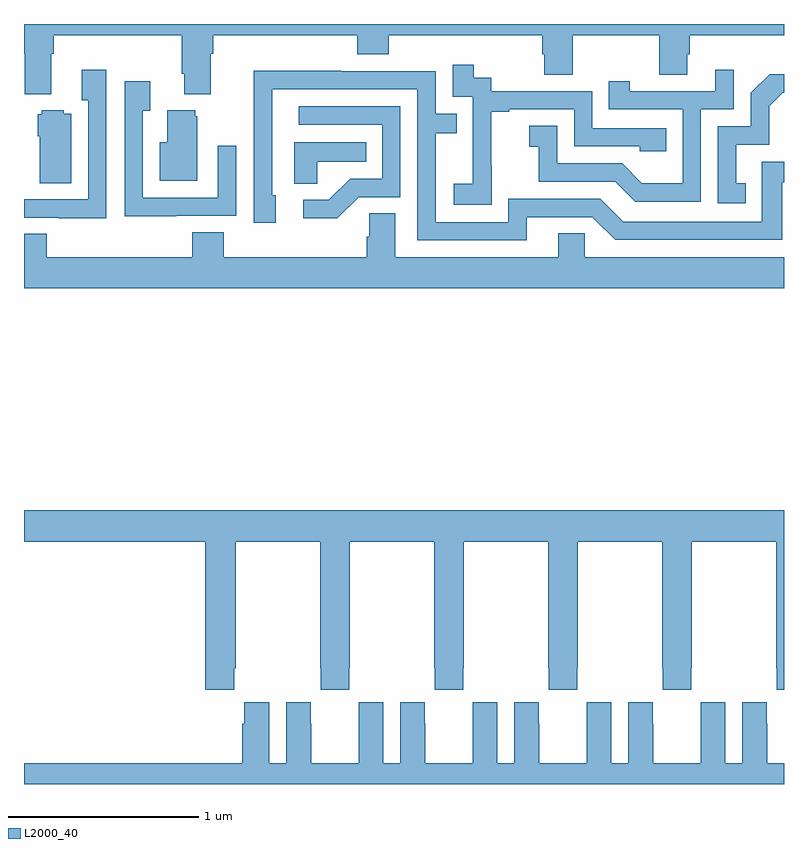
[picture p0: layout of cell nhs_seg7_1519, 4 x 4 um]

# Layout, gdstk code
import gdstk
lib = gdstk.Library(unit=1e-6, precision=1e-09)
def P(c, l, *ps):  # polygons
    for p in ps: c.add(gdstk.Polygon(p, *l))
L2000_40 = (2000, 40)

nhs_seg7_1519 = lib.new_cell('nhs_seg7_1519')
P(nhs_seg7_1519, L2000_40, [(215.143,1009.844),(215.156,1009.844),(215.156,1009.94),(215.831,1009.94),(215.831,1009.738),(215.843,1009.738),(215.843,1009.631),(215.983,1009.631),(215.983,1009.844),(215.996,1009.844),(215.996,1009.94),(216.755,1009.94),(216.755,1009.841),(216.92,1009.841),(216.92,1009.94),(217.727,1009.94),(217.727,1009.842),(217.739,1009.842),(217.739,1009.732),(217.887,1009.732),(217.887,1009.94),(218.344,1009.94),(218.344,1009.732),(218.491,1009.732),(218.491,1009.842),(218.504,1009.842),(218.504,1009.94),(219,1009.94),(219,1010),(215,1010),(215,1009.844),(215.003,1009.844),(215.003,1009.631),(215.143,1009.631)],
  [(217.461,1009.255),(217.46,1009.255),(217.46,1009.539),(217.555,1009.539),(217.555,1009.551),(217.896,1009.551),(217.896,1009.356),(218.241,1009.356),(218.241,1009.329),(218.381,1009.329),(218.381,1009.452),(217.992,1009.452),(217.992,1009.647),(217.458,1009.647),(217.458,1009.716),(217.366,1009.716),(217.366,1009.786),(217.257,1009.786),(217.257,1009.617),(217.362,1009.617),(217.362,1009.388),(217.361,1009.388),(217.361,1009.159),(217.263,1009.159),(217.263,1009.049),(217.461,1009.049)],
  [(215.433,1009.759),(215.303,1009.759),(215.303,1009.598),(215.337,1009.598),(215.337,1009.077),(215,1009.077),(215,1008.981),(215.183,1008.981),(215.183,1008.977),(215.433,1008.977)],
  [(218.562,1009.551),(218.736,1009.551),(218.736,1009.759),(218.639,1009.759),(218.639,1009.647),(218.188,1009.647),(218.188,1009.699),(218.077,1009.699),(218.077,1009.551),(218.466,1009.551),(218.466,1009.162),(218.252,1009.162),(218.148,1009.266),(217.806,1009.266),(217.806,1009.465),(217.659,1009.465),(217.659,1009.355),(217.708,1009.355),(217.708,1009.17),(218.111,1009.17),(218.216,1009.065),(218.562,1009.065)],
  [(217.645,1008.984),(217.992,1008.984),(218.112,1008.864),(218.992,1008.864),(218.992,1009.167),(219,1009.167),(219,1009.275),(218.883,1009.275),(218.883,1008.96),(218.154,1008.96),(218.034,1009.08),(217.548,1009.08),(217.548,1008.957),(217.167,1008.957),(217.167,1009.426),(217.277,1009.426),(217.277,1009.527),(217.167,1009.527),(217.167,1009.752),(216.671,1009.752),(216.671,1009.754),(216.208,1009.754),(216.208,1009.447),(216.21,1009.447),(216.21,1008.954),(216.325,1008.954),(216.325,1009.098),(216.306,1009.098),(216.306,1009.656),(217.071,1009.656),(217.071,1008.861),(217.645,1008.861)],
  [(218.798,1009.161),(218.749,1009.161),(218.749,1009.365),(218.922,1009.365),(218.922,1009.566),(218.994,1009.638),(219,1009.638),(219,1009.736),(218.924,1009.736),(218.826,1009.638),(218.826,1009.461),(218.652,1009.461),(218.652,1009.056),(218.798,1009.056)],
  [(215.801,1008.99),(216.117,1008.99),(216.117,1009.36),(216.021,1009.36),(216.021,1009.086),(215.625,1009.086),(215.625,1009.543),(215.665,1009.543),(215.665,1009.699),(215.529,1009.699),(215.529,1008.989),(215.801,1008.989)],
  [(216.762,1009.089),(216.981,1009.089),(216.981,1009.566),(216.447,1009.566),(216.447,1009.47),(216.885,1009.47),(216.885,1009.185),(216.716,1009.185),(216.605,1009.074),(216.471,1009.074),(216.471,1008.977),(216.649,1008.977)],
  [(215.911,1009.515),(215.9,1009.515),(215.9,1009.546),(215.753,1009.546),(215.753,1009.378),(215.714,1009.378),(215.714,1009.175),(215.911,1009.175)],
  [(215.248,1009.528),(215.208,1009.528),(215.208,1009.546),(215.094,1009.546),(215.094,1009.524),(215.072,1009.524),(215.072,1009.41),(215.084,1009.41),(215.084,1009.162),(215.248,1009.162)],
  [(216.543,1009.274),(216.8,1009.274),(216.8,1009.378),(216.422,1009.378),(216.422,1009.159),(216.543,1009.159)],
  [(219,1008.772),(217.95,1008.772),(217.95,1008.899),(217.811,1008.899),(217.811,1008.772),(216.955,1008.772),(216.955,1009.004),(216.816,1009.004),(216.816,1008.881),(216.803,1008.881),(216.803,1008.772),(216.05,1008.772),(216.05,1008.905),(215.885,1008.905),(215.885,1008.772),(215.12,1008.772),(215.12,1008.896),(215,1008.896),(215,1008.608),(219,1008.608)],
  [(215,1007.276),(215.954,1007.276),(215.954,1006.497),(216.107,1006.497),(216.107,1006.609),(216.114,1006.609),(216.114,1007.276),(216.559,1007.276),(216.559,1006.609),(216.561,1006.609),(216.561,1006.497),(216.711,1006.497),(216.711,1006.609),(216.714,1006.609),(216.714,1007.276),(217.159,1007.276),(217.159,1006.609),(217.161,1006.609),(217.161,1006.497),(217.311,1006.497),(217.311,1006.609),(217.314,1006.609),(217.314,1007.276),(217.759,1007.276),(217.759,1006.609),(217.761,1006.609),(217.761,1006.497),(217.911,1006.497),(217.911,1006.609),(217.914,1006.609),(217.914,1007.276),(218.359,1007.276),(218.359,1006.609),(218.361,1006.609),(218.361,1006.497),(218.511,1006.497),(218.511,1006.609),(218.514,1006.609),(218.514,1007.276),(218.959,1007.276),(218.959,1006.609),(218.961,1006.609),(218.961,1006.497),(219,1006.497),(219,1007.44),(215,1007.44)],
  [(219,1006.108),(218.911,1006.108),(218.911,1006.316),(218.91,1006.316),(218.91,1006.429),(218.78,1006.429),(218.78,1006.108),(218.692,1006.108),(218.692,1006.429),(218.562,1006.429),(218.562,1006.316),(218.561,1006.316),(218.561,1006.108),(218.311,1006.108),(218.311,1006.316),(218.31,1006.316),(218.31,1006.429),(218.18,1006.429),(218.18,1006.108),(218.092,1006.108),(218.092,1006.429),(217.962,1006.429),(217.962,1006.316),(217.961,1006.316),(217.961,1006.108),(217.711,1006.108),(217.711,1006.316),(217.71,1006.316),(217.71,1006.429),(217.58,1006.429),(217.58,1006.108),(217.492,1006.108),(217.492,1006.429),(217.362,1006.429),(217.362,1006.316),(217.361,1006.316),(217.361,1006.108),(217.111,1006.108),(217.111,1006.316),(217.11,1006.316),(217.11,1006.429),(216.98,1006.429),(216.98,1006.108),(216.892,1006.108),(216.892,1006.429),(216.762,1006.429),(216.762,1006.316),(216.761,1006.316),(216.761,1006.108),(216.511,1006.108),(216.511,1006.316),(216.51,1006.316),(216.51,1006.429),(216.38,1006.429),(216.38,1006.108),(216.292,1006.108),(216.292,1006.429),(216.158,1006.429),(216.158,1006.316),(216.149,1006.316),(216.149,1006.108),(215,1006.108),(215,1006),(219,1006)])

lib.write_gds('nhs_seg7_1519.gds')
